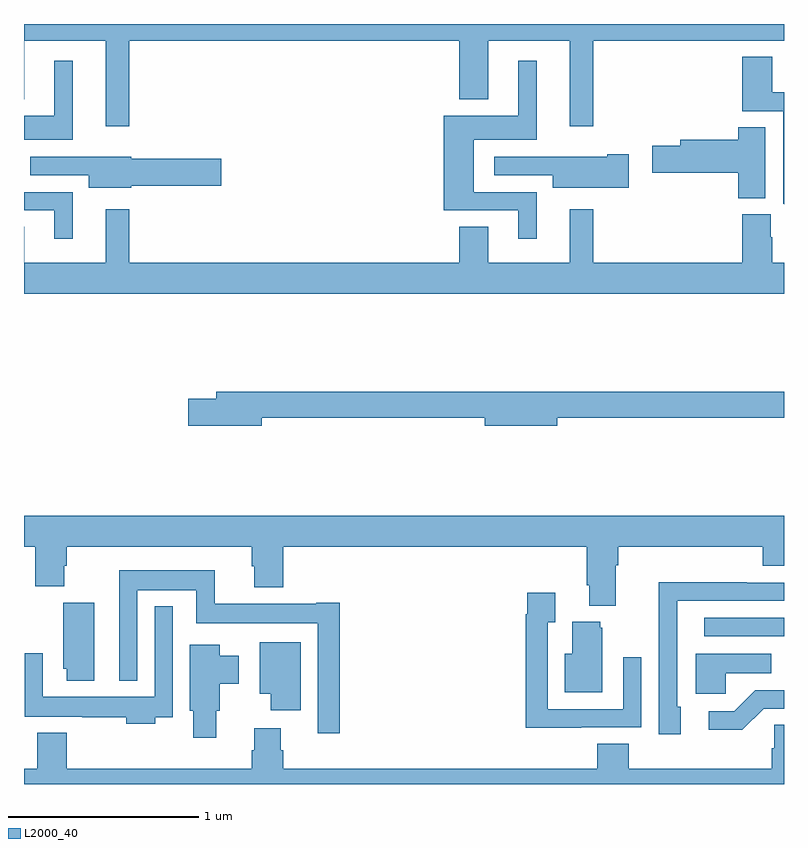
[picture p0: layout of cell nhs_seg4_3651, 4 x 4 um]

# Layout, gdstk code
import gdstk
lib = gdstk.Library(unit=1e-6, precision=1e-09)
def R(c, l, rs):  # rectangles x0, y0, x1, y1
    for r in rs: c.add(gdstk.rectangle(r[:2], r[2:], *l))
def P(c, l, *ps):  # polygons
    for p in ps: c.add(gdstk.Polygon(p, *l))
L2000_40 = (2000, 40)

nhs_seg4_3651 = lib.new_cell('nhs_seg4_3651')
R(nhs_seg4_3651, L2000_40, [(306.579,801.678,307,801.774)])
P(nhs_seg4_3651, L2000_40, [(303.553,804.812),(305.291,804.812),(305.291,804.503),(305.443,804.503),(305.443,804.812),(305.873,804.812),(305.873,804.363),(305.995,804.363),(305.995,804.812),(307,804.812),(307,804.9),(303,804.9),(303,804.503),(303.001,804.503),(303.001,804.812),(303.431,804.812),(303.431,804.363),(303.553,804.363)],
  [(307,804.542),(306.939,804.542),(306.939,804.727),(306.779,804.727),(306.779,804.441),(306.996,804.441),(306.996,803.955),(307,803.951)],
  [(305.698,804.015),(305.368,804.015),(305.368,804.29),(305.698,804.29),(305.698,804.706),(305.6,804.706),(305.6,804.418),(305.21,804.418),(305.21,803.919),(305.6,803.919),(305.6,803.769),(305.698,803.769)],
  [(303.256,804.706),(303.158,804.706),(303.158,804.418),(303,804.418),(303,804.29),(303.256,804.29)],
  [(306.901,804.356),(306.758,804.356),(306.758,804.29),(306.455,804.29),(306.455,804.26),(306.306,804.26),(306.306,804.118),(306.758,804.118),(306.758,803.983),(306.901,803.983)],
  [(306.184,804.215),(306.071,804.215),(306.071,804.202),(305.787,804.202),(305.787,804.201),(305.475,804.201),(305.475,804.105),(305.783,804.105),(305.783,804.037),(306.184,804.037)],
  [(303.564,804.049),(304.039,804.049),(304.039,804.191),(303.564,804.191),(303.564,804.202),(303.345,804.202),(303.345,804.201),(303.033,804.201),(303.033,804.105),(303.341,804.105),(303.341,804.038),(303.564,804.038)],
  [(303.256,804.015),(303,804.015),(303,803.919),(303.158,803.919),(303.158,803.769),(303.256,803.769)],
  [(307,803.644),(306.939,803.644),(306.939,803.777),(306.93,803.777),(306.93,803.898),(306.779,803.898),(306.779,803.644),(305.995,803.644),(305.995,803.926),(305.873,803.926),(305.873,803.644),(305.443,803.644),(305.443,803.834),(305.291,803.834),(305.291,803.644),(303.553,803.644),(303.553,803.926),(303.431,803.926),(303.431,803.644),(303.001,803.644),(303.001,803.834),(303,803.834),(303,803.48),(307,803.48)],
  [(304.252,802.828),(305.426,802.828),(305.426,802.786),(305.806,802.786),(305.806,802.828),(307,802.828),(307,802.964),(304.013,802.964),(304.013,802.928),(303.864,802.928),(303.864,802.786),(304.252,802.786)],
  [(306.115,802.052),(306.128,802.052),(306.128,802.148),(306.887,802.148),(306.887,802.049),(307,802.049),(307,802.312),(303,802.312),(303,802.148),(303.059,802.148),(303.059,801.94),(303.211,801.94),(303.211,802.049),(303.224,802.049),(303.224,802.148),(304.199,802.148),(304.199,802.047),(304.211,802.047),(304.211,801.935),(304.364,801.935),(304.364,802.148),(305.963,802.148),(305.963,801.946),(305.975,801.946),(305.975,801.839),(306.115,801.839)],
  [(304.661,801.853),(304.538,801.853),(304.538,801.85),(304.004,801.85),(304.004,802.024),(303.5,802.024),(303.5,801.443),(303.597,801.443),(303.597,801.92),(303.906,801.92),(303.906,801.746),(304.545,801.746),(304.545,801.168),(304.661,801.168)],
  [(306.457,801.306),(306.438,801.306),(306.438,801.61),(306.439,801.61),(306.439,801.864),(307,801.864),(307,801.96),(306.803,801.96),(306.803,801.962),(306.34,801.962),(306.34,801.655),(306.342,801.655),(306.342,801.162),(306.457,801.162)],
  [(305.933,801.198),(306.249,801.198),(306.249,801.568),(306.153,801.568),(306.153,801.294),(305.757,801.294),(305.757,801.751),(305.797,801.751),(305.797,801.907),(305.649,801.907),(305.649,801.794),(305.641,801.794),(305.641,801.197),(305.933,801.197)],
  [(303.37,801.855),(303.206,801.855),(303.206,801.507),(303.224,801.507),(303.224,801.444),(303.37,801.444)],
  [(303.691,801.252),(303.783,801.252),(303.783,801.835),(303.687,801.835),(303.687,801.358),(303.099,801.358),(303.099,801.589),(303.003,801.589),(303.003,801.254),(303.307,801.254),(303.307,801.252),(303.539,801.252),(303.539,801.218),(303.691,801.218)],
  [(306.043,801.723),(306.032,801.723),(306.032,801.754),(305.885,801.754),(305.885,801.586),(305.846,801.586),(305.846,801.383),(306.043,801.383)],
  [(304.456,801.646),(304.241,801.646),(304.241,801.374),(304.298,801.374),(304.298,801.288),(304.456,801.288)],
  [(304.012,801.285),(304.03,801.285),(304.03,801.427),(304.129,801.427),(304.129,801.574),(304.03,801.574),(304.03,801.634),(303.872,801.634),(303.872,801.285),(303.89,801.285),(303.89,801.144),(304.012,801.144)],
  [(306.693,801.482),(306.932,801.482),(306.932,801.586),(306.536,801.586),(306.536,801.374),(306.693,801.374)],
  [(306.894,801.297),(307,801.297),(307,801.393),(306.848,801.393),(306.737,801.282),(306.603,801.282),(306.603,801.185),(306.781,801.185)],
  [(307,801.212),(306.948,801.212),(306.948,801.089),(306.935,801.089),(306.935,800.98),(306.182,800.98),(306.182,801.113),(306.017,801.113),(306.017,800.98),(304.364,800.98),(304.364,801.078),(304.351,801.078),(304.351,801.193),(304.211,801.193),(304.211,801.078),(304.199,801.078),(304.199,800.98),(303.224,800.98),(303.224,801.169),(303.071,801.169),(303.071,800.98),(303,800.98),(303,800.9),(307,800.9)])

lib.write_gds('nhs_seg4_3651.gds')
